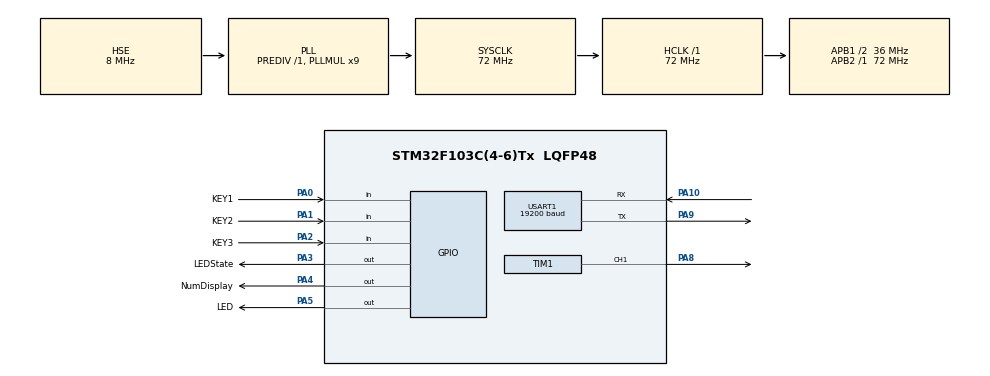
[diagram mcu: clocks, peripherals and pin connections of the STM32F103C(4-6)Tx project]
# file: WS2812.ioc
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Dma.Request0=TIM1_CH1
Dma.Request1=USART1_TX
Dma.TIM1_CH1.0.Direction=DMA_MEMORY_TO_PERIPH
Dma.TIM1_CH1.0.Instance=DMA1_Channel2
Dma.TIM1_CH1.0.MemDataAlignment=DMA_MDATAALIGN_HALFWORD
Dma.TIM1_CH1.0.MemInc=DMA_MINC_ENABLE
Dma.TIM1_CH1.0.Mode=DMA_NORMAL
Dma.TIM1_CH1.0.PeriphDataAlignment=DMA_PDATAALIGN_HALFWORD
Dma.TIM1_CH1.0.PeriphInc=DMA_PINC_DISABLE
Dma.TIM1_CH1.0.Priority=DMA_PRIORITY_LOW
Dma.USART1_TX.1.Direction=DMA_MEMORY_TO_PERIPH
Dma.USART1_TX.1.Instance=DMA1_Channel4
Dma.USART1_TX.1.MemDataAlignment=DMA_MDATAALIGN_BYTE
Dma.USART1_TX.1.MemInc=DMA_MINC_ENABLE
Dma.USART1_TX.1.Mode=DMA_NORMAL
Dma.USART1_TX.1.PeriphDataAlignment=DMA_PDATAALIGN_BYTE
Dma.USART1_TX.1.PeriphInc=DMA_PINC_DISABLE
Dma.USART1_TX.1.Priority=DMA_PRIORITY_LOW
FREERTOS.BinarySemaphores01=UartTxSemaphore,Static,UartTxSemaphoreControlBlock,Available;PWMTxSemaphore,Static,PWMTxSemaphoreControlBlock,Available
FREERTOS.HEAP_NUMBER=1
FREERTOS.Mutexes01=TreansmitMutex,Static,TreansmitMutexControlBlock,Available
FREERTOS.Tasks01=UartTask,40,128,UartTaskEntryFunction,Default,NULL,Static,UartTaskBuffer,UartTaskControlBlock;ws2812_Task,24,128,ws2812_Task_EntryFunction,Default,NULL,Static,ws2812_TaskBuffer,ws2812_TaskControlBlock
FREERTOS.configTIMER_TASK_STACK_DEPTH=256
FREERTOS.configTOTAL_HEAP_SIZE=2048
Mcu.Family=STM32F1
Mcu.Name=STM32F103C(4-6)Tx
Mcu.Package=LQFP48
NVIC.DMA1_Channel2_IRQn=true\:5\:0\:false\:false\:true\:true\:false\:true\:true
NVIC.DMA1_Channel4_IRQn=true\:5\:0\:false\:false\:true\:true\:false\:true\:true
NVIC.PriorityGroup=NVIC_PRIORITYGROUP_4
NVIC.TIM2_IRQn=true\:15\:0\:false\:false\:true\:false\:false\:true\:true
NVIC.TimeBase=TIM2_IRQn
NVIC.TimeBaseIP=TIM2
NVIC.USART1_IRQn=true\:5\:0\:false\:false\:true\:true\:true\:true\:true
PA0-WKUP.GPIO_Label=KEY1
PA0-WKUP.GPIO_PuPd=GPIO_PULLUP
PA0-WKUP.Signal=GPIO_Input
PA1.GPIO_Label=KEY2
PA1.GPIO_Mode=GPIO_MODE_INPUT
PA1.GPIO_PuPd=GPIO_PULLUP
PA1.Signal=GPIO_Input
PA10.GPIO_PuPd=GPIO_PULLUP
PA10.Mode=Asynchronous
PA10.Signal=USART1_RX
PA13.Mode=Serial_Wire
PA13.Signal=SYS_JTMS-SWDIO
PA14.Mode=Serial_Wire
PA14.Signal=SYS_JTCK-SWCLK
PA2.GPIO_Label=KEY3
PA2.GPIO_PuPd=GPIO_PULLUP
PA2.Signal=GPIO_Input
PA3.GPIO_Label=LEDState
PA3.Signal=GPIO_Output
PA4.GPIO_Label=NumDisplay
PA4.Signal=GPIO_Output
PA5.GPIO_Label=LED
PA5.GPIO_ModeDefaultOutputPP=GPIO_MODE_OUTPUT_OD
PA5.GPIO_PuPd=GPIO_PULLUP
PA5.PinState=GPIO_PIN_SET
PA5.Signal=GPIO_Output
PA8.Signal=S_TIM1_CH1
PA9.Mode=Asynchronous
PA9.Signal=USART1_TX
PD0-OSC_IN.Mode=HSE-External-Oscillator
PD0-OSC_IN.Signal=RCC_OSC_IN
PD1-OSC_OUT.Mode=HSE-External-Oscillator
PD1-OSC_OUT.Signal=RCC_OSC_OUT
ProjectManager.HeapSize=0x200
ProjectManager.StackSize=0x400
ProjectManager.TargetToolchain=CMake
RCC.AHBFreq_Value=72000000
RCC.APB1CLKDivider=RCC_HCLK_DIV2
RCC.APB1Freq_Value=36000000
RCC.APB1TimFreq_Value=72000000
RCC.APB2Freq_Value=72000000
RCC.APB2TimFreq_Value=72000000
RCC.HCLKFreq_Value=72000000
RCC.PLLMUL=RCC_PLL_MUL9
RCC.PLLSourceVirtual=RCC_PLLSOURCE_HSE
RCC.SYSCLKFreq_VALUE=72000000
RCC.SYSCLKSource=RCC_SYSCLKSOURCE_PLLCLK
RCC.USBFreq_Value=72000000
SH.S_TIM1_CH1.0=TIM1_CH1,PWM Generation1 CH1
TIM1.Channel-PWM\ Generation1\ CH1=TIM_CHANNEL_1
TIM1.OCIdleState_1=TIM_OCIDLESTATE_RESET
TIM1.Period=89
USART1.BaudRate=19200
USART1.Mode=MODE_TX
USART1.Parity=PARITY_EVEN
USART1.VirtualMode=VM_ASYNC
USART1.WordLength=WORDLENGTH_9B
VP_FREERTOS_VS_CMSIS_V2.Mode=CMSIS_V2
VP_SYS_VS_tim2.Mode=TIM2
board=custom

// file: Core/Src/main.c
/* USER CODE BEGIN Header */
/**
  ******************************************************************************
  * @file           : main.c
  * @brief          : Main program body
  ******************************************************************************
  * @attention
  *
  * Copyright (c) 2026 STMicroelectronics.
  * All rights reserved.
  *
  * This software is licensed under terms that can be found in the LICENSE file
  * in the root directory of this software component.
  * If no LICENSE file comes with this software, it is provided AS-IS.
  *
  ******************************************************************************
  */
/* USER CODE END Header */
#include "main.h"
#include "cmsis_os.h"

/* USER CODE BEGIN Includes */
#include "stm32f1xx_hal_gpio.h"
#include "ws2812.h"
#include "TM1652.h"
/* USER CODE END Includes */

typedef StaticTask_t osStaticThreadDef_t;
typedef StaticSemaphore_t osStaticMutexDef_t;
typedef StaticSemaphore_t osStaticSemaphoreDef_t;

TIM_HandleTypeDef htim1;
DMA_HandleTypeDef hdma_tim1_ch1;

UART_HandleTypeDef huart1;
DMA_HandleTypeDef hdma_usart1_tx;

/* Definitions for UartTask */
osThreadId_t UartTaskHandle;
uint32_t UartTaskBuffer[ 64 ];
osStaticThreadDef_t UartTaskControlBlock;
const osThreadAttr_t UartTask_attributes = {
  .name = "UartTask",
  .cb_mem = &UartTaskControlBlock,
  .cb_size = sizeof(UartTaskControlBlock),
  .stack_mem = &UartTaskBuffer[0],
  .stack_size = sizeof(UartTaskBuffer),
  .priority = (osPriority_t) osPriorityHigh,
};
/* Definitions for ws2812_Task */
osThreadId_t ws2812_TaskHandle;
uint32_t ws2812_TaskBuffer[ 64 ];
osStaticThreadDef_t ws2812_TaskControlBlock;
const osThreadAttr_t ws2812_Task_attributes = {
  .name = "ws2812_Task",
  .cb_mem = &ws2812_TaskControlBlock,
  .cb_size = sizeof(ws2812_TaskControlBlock),
  .stack_mem = &ws2812_TaskBuffer[0],
  .stack_size = sizeof(ws2812_TaskBuffer),
  .priority = (osPriority_t) osPriorityNormal,
};
/* Definitions for TreansmitMutex */
osMutexId_t TreansmitMutexHandle;
osStaticMutexDef_t TreansmitMutexControlBlock;
const osMutexAttr_t TreansmitMutex_attributes = {
  .name = "TreansmitMutex",
  .cb_mem = &TreansmitMutexControlBlock,
  .cb_size = sizeof(TreansmitMutexControlBlock),
};
/* Definitions for UartTxSemaphore */
osSemaphoreId_t UartTxSemaphoreHandle;
osStaticSemaphoreDef_t UartTxSemaphoreControlBlock;
const osSemaphoreAttr_t UartTxSemaphore_attributes = {
  .name = "UartTxSemaphore",
  .cb_mem = &UartTxSemaphoreControlBlock,
  .cb_size = sizeof(UartTxSemaphoreControlBlock),
};
/* Definitions for PWMTxSemaphore */
osSemaphoreId_t PWMTxSemaphoreHandle;
osStaticSemaphoreDef_t PWMTxSemaphoreControlBlock;
const osSemaphoreAttr_t PWMTxSemaphore_attributes = {
  .name = "PWMTxSemaphore",
  .cb_mem = &PWMTxSemaphoreControlBlock,
  .cb_size = sizeof(PWMTxSemaphoreControlBlock),
};

void SystemClock_Config(void);
static void MX_GPIO_Init(void);
static void MX_DMA_Init(void);
static void MX_TIM1_Init(void);
static void MX_USART1_UART_Init(void);
void UartTaskEntryFunction(void *argument);
void ws2812_Task_EntryFunction(void *argument);

int main(void)
{

  /* MCU Configuration--------------------------------------------------------*/

  /* Reset of all peripherals, Initializes the Flash interface and the Systick. */
  HAL_Init();

  /* Configure the system clock */
  SystemClock_Config();

  /* Initialize all configured peripherals */
  MX_GPIO_Init();
  MX_DMA_Init();
  MX_TIM1_Init();
  MX_USART1_UART_Init();

  /* Init scheduler */
  osKernelInitialize();
  /* Create the mutex(es) */
  /* creation of TreansmitMutex */
  TreansmitMutexHandle = osMutexNew(&TreansmitMutex_attributes);

  /* Create the semaphores(s) */
  /* creation of UartTxSemaphore */
  UartTxSemaphoreHandle = osSemaphoreNew(1, 1, &UartTxSemaphore_attributes);

  /* creation of PWMTxSemaphore */
  PWMTxSemaphoreHandle = osSemaphoreNew(1, 1, &PWMTxSemaphore_attributes);

  /* Create the thread(s) */
  /* creation of UartTask */
  UartTaskHandle = osThreadNew(UartTaskEntryFunction, NULL, &UartTask_attributes);

  /* creation of ws2812_Task */
  ws2812_TaskHandle = osThreadNew(ws2812_Task_EntryFunction, NULL, &ws2812_Task_attributes);

  /* Start scheduler */
  osKernelStart();

  /* We should never get here as control is now taken by the scheduler */

  /* Infinite loop */
  while (1)
  {

  }
}

void SystemClock_Config(void)
{
  RCC_OscInitTypeDef RCC_OscInitStruct = {0};
  RCC_ClkInitTypeDef RCC_ClkInitStruct = {0};

  /** Initializes the RCC Oscillators according to the specified parameters
  * in the RCC_OscInitTypeDef structure.
  */
  RCC_OscInitStruct.OscillatorType = RCC_OSCILLATORTYPE_HSE;
  RCC_OscInitStruct.HSEState = RCC_HSE_ON;
  RCC_OscInitStruct.HSEPredivValue = RCC_HSE_PREDIV_DIV1;
  RCC_OscInitStruct.HSIState = RCC_HSI_ON;
  RCC_OscInitStruct.PLL.PLLState = RCC_PLL_ON;
  RCC_OscInitStruct.PLL.PLLSource = RCC_PLLSOURCE_HSE;
  RCC_OscInitStruct.PLL.PLLMUL = RCC_PLL_MUL9;
  if (HAL_RCC_OscConfig(&RCC_OscInitStruct) != HAL_OK)
  {
    Error_Handler();
  }

  /** Initializes the CPU, AHB and APB buses clocks
  */
  RCC_ClkInitStruct.ClockType = RCC_CLOCKTYPE_HCLK|RCC_CLOCKTYPE_SYSCLK
                              |RCC_CLOCKTYPE_PCLK1|RCC_CLOCKTYPE_PCLK2;
  RCC_ClkInitStruct.SYSCLKSource = RCC_SYSCLKSOURCE_PLLCLK;
  RCC_ClkInitStruct.AHBCLKDivider = RCC_SYSCLK_DIV1;
  RCC_ClkInitStruct.APB1CLKDivider = RCC_HCLK_DIV2;
  RCC_ClkInitStruct.APB2CLKDivider = RCC_HCLK_DIV1;

  if (HAL_RCC_ClockConfig(&RCC_ClkInitStruct, FLASH_LATENCY_2) != HAL_OK)
  {
    Error_Handler();
  }
}

static void MX_TIM1_Init(void)
{

  TIM_MasterConfigTypeDef sMasterConfig = {0};
  TIM_OC_InitTypeDef sConfigOC = {0};
  TIM_BreakDeadTimeConfigTypeDef sBreakDeadTimeConfig = {0};

  htim1.Instance = TIM1;
  htim1.Init.Prescaler = 0;
  htim1.Init.CounterMode = TIM_COUNTERMODE_UP;
  htim1.Init.Period = 89;
  htim1.Init.ClockDivision = TIM_CLOCKDIVISION_DIV1;
  htim1.Init.RepetitionCounter = 0;
  htim1.Init.AutoReloadPreload = TIM_AUTORELOAD_PRELOAD_DISABLE;
  if (HAL_TIM_PWM_Init(&htim1) != HAL_OK)
  {
    Error_Handler();
  }
  sMasterConfig.MasterOutputTrigger = TIM_TRGO_RESET;
  sMasterConfig.MasterSlaveMode = TIM_MASTERSLAVEMODE_DISABLE;
  if (HAL_TIMEx_MasterConfigSynchronization(&htim1, &sMasterConfig) != HAL_OK)
  {
    Error_Handler();
  }
  sConfigOC.OCMode = TIM_OCMODE_PWM1;
  sConfigOC.Pulse = 0;
  sConfigOC.OCPolarity = TIM_OCPOLARITY_HIGH;
  sConfigOC.OCNPolarity = TIM_OCNPOLARITY_HIGH;
  sConfigOC.OCFastMode = TIM_OCFAST_DISABLE;
  sConfigOC.OCIdleState = TIM_OCIDLESTATE_RESET;
  sConfigOC.OCNIdleState = TIM_OCNIDLESTATE_RESET;
  if (HAL_TIM_PWM_ConfigChannel(&htim1, &sConfigOC, TIM_CHANNEL_1) != HAL_OK)
  {
    Error_Handler();
  }
  sBreakDeadTimeConfig.OffStateRunMode = TIM_OSSR_DISABLE;
  sBreakDeadTimeConfig.OffStateIDLEMode = TIM_OSSI_DISABLE;
  sBreakDeadTimeConfig.LockLevel = TIM_LOCKLEVEL_OFF;
  sBreakDeadTimeConfig.DeadTime = 0;
  sBreakDeadTimeConfig.BreakState = TIM_BREAK_DISABLE;
  sBreakDeadTimeConfig.BreakPolarity = TIM_BREAKPOLARITY_HIGH;
  sBreakDeadTimeConfig.AutomaticOutput = TIM_AUTOMATICOUTPUT_DISABLE;
  if (HAL_TIMEx_ConfigBreakDeadTime(&htim1, &sBreakDeadTimeConfig) != HAL_OK)
  {
    Error_Handler();
  }
  HAL_TIM_MspPostInit(&htim1);

}

static void MX_USART1_UART_Init(void)
{

  huart1.Instance = USART1;
  huart1.Init.BaudRate = 19200;
  huart1.Init.WordLength = UART_WORDLENGTH_9B;
  huart1.Init.StopBits = UART_STOPBITS_1;
  huart1.Init.Parity = UART_PARITY_ODD;
  huart1.Init.Mode = UART_MODE_TX;
  huart1.Init.HwFlowCtl = UART_HWCONTROL_NONE;
  huart1.Init.OverSampling = UART_OVERSAMPLING_16;
  if (HAL_UART_Init(&huart1) != HAL_OK)
  {
    Error_Handler();
  }

}

static void MX_DMA_Init(void)
{

  /* DMA controller clock enable */
  __HAL_RCC_DMA1_CLK_ENABLE();

  /* DMA interrupt init */
  /* DMA1_Channel2_IRQn interrupt configuration */
  HAL_NVIC_SetPriority(DMA1_Channel2_IRQn, 5, 0);
  HAL_NVIC_EnableIRQ(DMA1_Channel2_IRQn);
  /* DMA1_Channel4_IRQn interrupt configuration */
  HAL_NVIC_SetPriority(DMA1_Channel4_IRQn, 5, 0);
  HAL_NVIC_EnableIRQ(DMA1_Channel4_IRQn);

}

static void MX_GPIO_Init(void)
{
  GPIO_InitTypeDef GPIO_InitStruct = {0};

  /* GPIO Ports Clock Enable */
  __HAL_RCC_GPIOD_CLK_ENABLE();
  __HAL_RCC_GPIOA_CLK_ENABLE();

  /*Configure GPIO pin Output Level */
  HAL_GPIO_WritePin(GPIOA, LEDState_Pin|NumDisplay_Pin, GPIO_PIN_RESET);

  /*Configure GPIO pin Output Level */
  HAL_GPIO_WritePin(LED_GPIO_Port, LED_Pin, GPIO_PIN_SET);

  /*Configure GPIO pins : KEY1_Pin KEY2_Pin KEY3_Pin */
  GPIO_InitStruct.Pin = KEY1_Pin|KEY2_Pin|KEY3_Pin;
  GPIO_InitStruct.Mode = GPIO_MODE_INPUT;
  GPIO_InitStruct.Pull = GPIO_PULLUP;
  HAL_GPIO_Init(GPIOA, &GPIO_InitStruct);

  /*Configure GPIO pins : LEDState_Pin NumDisplay_Pin */
  GPIO_InitStruct.Pin = LEDState_Pin|NumDisplay_Pin;
  GPIO_InitStruct.Mode = GPIO_MODE_OUTPUT_PP;
  GPIO_InitStruct.Pull = GPIO_NOPULL;
  GPIO_InitStruct.Speed = GPIO_SPEED_FREQ_LOW;
  HAL_GPIO_Init(GPIOA, &GPIO_InitStruct);

  /*Configure GPIO pin : LED_Pin */
  GPIO_InitStruct.Pin = LED_Pin;
  GPIO_InitStruct.Mode = GPIO_MODE_OUTPUT_OD;
  GPIO_InitStruct.Pull = GPIO_PULLUP;
  GPIO_InitStruct.Speed = GPIO_SPEED_FREQ_LOW;
  HAL_GPIO_Init(LED_GPIO_Port, &GPIO_InitStruct);

}

/* USER CODE BEGIN 4 */
void HAL_TIM_PWM_PulseFinishedCallback(TIM_HandleTypeDef *htim)
{
    // 判断是不是我们的 TIM1 通道 1 发完了
    if (htim->Instance == TIM1)
    {
        HAL_TIM_PWM_Stop_DMA(&htim1, TIM_CHANNEL_1);

        // 如果用 RTOS 信号量，在这里释放
        osSemaphoreRelease(PWMTxSemaphoreHandle);
    }
}

void HAL_UART_TxCpltCallback(UART_HandleTypeDef *huart)
{
    // 判断是不是 USART1 发完了
    if (huart->Instance == USART1)
    {
        // 到了这里，说明 TM1652 的两包数据（地址+数据）已经完全变成了物理波形发出去了。

        // 1. 如果用 RTOS 信号量，在这里释放
        osSemaphoreRelease(UartTxSemaphoreHandle);
    }
}

/* USER CODE END 4 */

void UartTaskEntryFunction(void *argument)
{
  /* USER CODE BEGIN 5 */
  osMutexAcquire(TreansmitMutexHandle, osWaitForever); // 获取互斥锁，确保独占访问
  HAL_GPIO_WritePin(NumDisplay_GPIO_Port, NumDisplay_Pin, GPIO_PIN_RESET);
  TM1652_setNumber(&huart1, ADDRESS_GR1, 1); // 发地址 + 数字 '1'

  osMutexRelease(TreansmitMutexHandle); // 释放互斥锁

  // osSemaphoreAcquire(UartTxSemaphoreHandle, 100); // 等待发送完成信号量

  osDelay(10);                      // 给芯片一点点反应时间

  TM1652_setNumber(&huart1, ADDRESS_GR2, 2); // 发地址 + 数字 '2'

  osMutexRelease(TreansmitMutexHandle); // 释放互斥锁

  // osSemaphoreAcquire(UartTxSemaphoreHandle, 100); // 等待发送完成信号量

  osDelay(10);                      // 给芯片一点点反应时间

  TM1652_setNumber(&huart1, ADDRESS_GR3, 3); // 发地址 + 数字 '3'

  osMutexRelease(TreansmitMutexHandle); // 释放互斥锁

  // osSemaphoreAcquire(UartTxSemaphoreHandle, 100); // 等待发送完成信号量

  osDelay(10);                      // 给芯片一点点反应时间

  TM1652_setNumber(&huart1, ADDRESS_GR4, 4); // 发地址 + 数字 '4'

  osMutexRelease(TreansmitMutexHandle); // 释放互斥锁

  // osSemaphoreAcquire(UartTxSemaphoreHandle, 100); // 等待发送完成信号量

  osDelay(10);                      // 给芯片一点点反应时间

  TM1652_Init(&huart1);               // 初始化，配置模式并拉高 >3ms

  osDelay(5);                       // 锁存必须的 3ms 空闲帧

  TM1652_setDisplay(&huart1, DISPLAY_DUTY_8, DISPLAY_CURRENT_8, DISPLAY_SG8_GR5); // 真正打开显示
  osDelay(5);
  /* Infinite loop */
  for(;;)
  {
    osDelay(1000);
  }
  /* USER CODE END 5 */
}

void ws2812_Task_EntryFunction(void *argument)
{
  /* USER CODE BEGIN ws2812_Task_EntryFunction */
  ws2812_init();
  for(uint8_t i=0; i<20; i++){
    ws2812_set_color(i, 255, 0, 0);
  }
  for(uint8_t i=20; i<40; i++){
    ws2812_set_color(i, 0, 255, 0);
  }
  for(int i = 40; i < LED_NUM; i++){
    ws2812_set_color(i, 0, 0, 255); // Set all LEDs to blue
  }
  HAL_GPIO_WritePin(LED_GPIO_Port, LED_Pin, GPIO_PIN_RESET);
  osMutexAcquire(TreansmitMutexHandle, osWaitForever); // 获取互斥锁，确保独占访问
  ws2812_show(led_data, LED_NUM);
  osMutexRelease(TreansmitMutexHandle); // 释放互斥锁
  osSemaphoreAcquire(PWMTxSemaphoreHandle, 100); // 等待发送完成信号量
  /* Infinite loop */
  uint8_t index = 0;
  // uint8_t red, green, blue;
  for(;;)
  {
    if(++index == 60){
      index = 0;
    }
    // red = (index + 20) % 60;
    // green = (index + 40) % 60;
    // blue = index;
    ws2812_set_color((index + 20) % 60, 255, 0, 0);
    ws2812_set_color((index + 40) % 60, 0, 255, 0);
    ws2812_set_color(index, 0, 0, 255);
    ws2812_show(led_data, LED_NUM);
    osDelay(200);
  }
  /* USER CODE END ws2812_Task_EntryFunction */
}

void HAL_TIM_PeriodElapsedCallback(TIM_HandleTypeDef *htim)
{
  if (htim->Instance == TIM2)
  {
    HAL_IncTick();
  }
}

void Error_Handler(void)
{
  __disable_irq();
  while (1)
  {
  }
}
